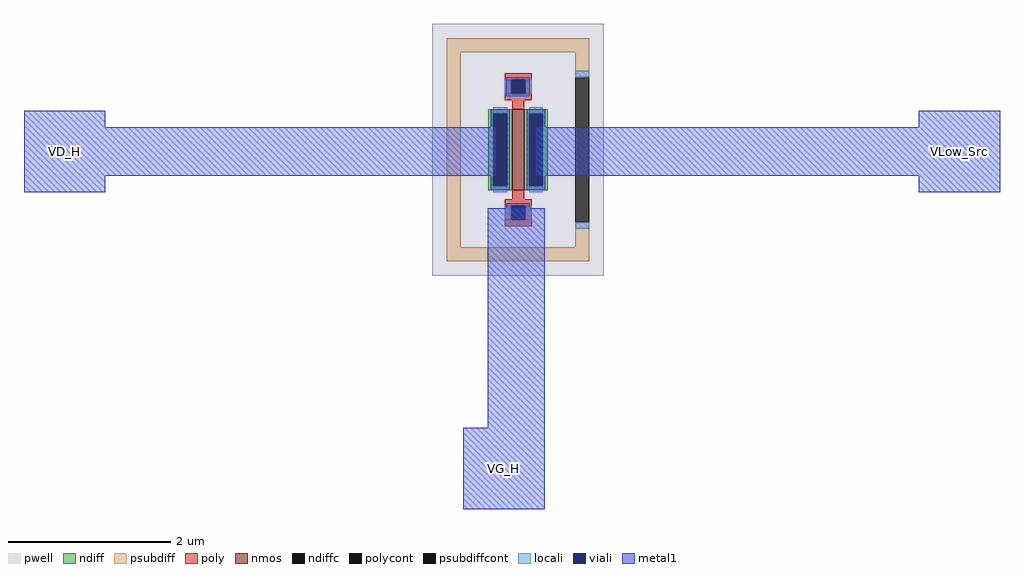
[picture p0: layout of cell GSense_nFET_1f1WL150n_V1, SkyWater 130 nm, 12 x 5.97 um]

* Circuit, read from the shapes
.subckt GSense_nFET_1f1WL150n_V1 VD_H VG_H VLow_Src
XM1 VLow_Src VG_H VD_H VSUBS sky130_fd_pr__nfet_01v8 w=1 l=0.15
.ends

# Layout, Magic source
magic
tech sky130A
magscale 1 2
<< metal1 >>
rect -600 -40 -400 0
rect 1600 -40 1800 0
rect -600 -160 560 -40
rect 660 -160 1800 -40
rect -600 -200 -400 -160
rect 1600 -200 1800 -160
rect 540 -780 680 -240
rect 480 -980 680 -780
use sky130_fd_pr__nfet_01v8_J36GRF  XM3
transform 1 0 615 0 1 -96
box -211 -310 211 310
<< labels >>
flabel metal1 1600 -200 1800 0 0 FreeSans 256 0 0 0 VLow_Src
port 2 nsew
flabel metal1 -600 -200 -400 0 0 FreeSans 256 0 0 0 VD_H
port 0 nsew
flabel metal1 480 -980 680 -780 0 FreeSans 256 0 0 0 VG_H
port 1 nsew
<< end >>

# cell sky130_fd_pr__nfet_01v8_J36GRF: kit device sky130_fd_pr__nfet_01v8, w 1.0 l 0.15 m 1 nf 1 diffcov 100 polycov 100 guard 1 glc 0 grc 1 gtc 0 gbc 0 tbcov 100 rlcov 100 topc 1 botc 1 poverlap 0 doverlap 1 lmin 0.15 wmin 0.42 compatible {sky130_fd_pr__nfet_01v8 sky130_fd_pr__nfet_01v8_lvt sky130_fd_bs_flash__special_sonosfet_star sky130_fd_pr__nfet_g5v0d10v5 sky130_fd_pr__nfet_05v0_nvt sky130_fd_pr__nfet_03v3_nvt} full_metal 0 viasrc 100 viadrn 100 viagate 100 viagb 0 viagr 0 viagl 0 viagt 0
